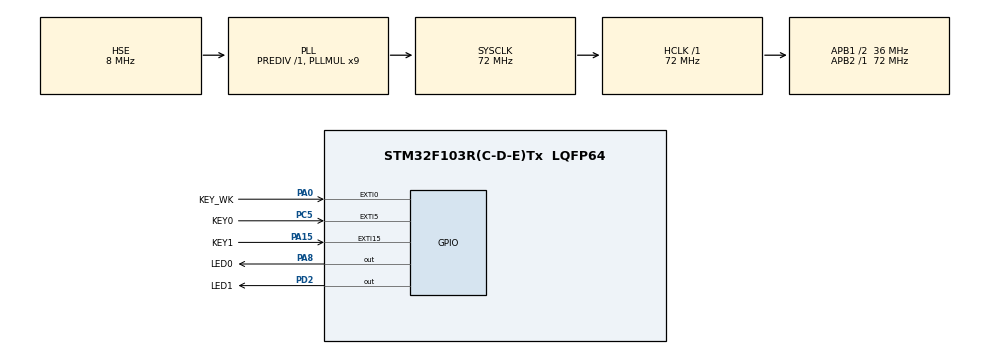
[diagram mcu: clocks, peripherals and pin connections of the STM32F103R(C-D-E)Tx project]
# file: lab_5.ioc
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Mcu.Family=STM32F1
Mcu.Name=STM32F103R(C-D-E)Tx
Mcu.Package=LQFP64
NVIC.EXTI0_IRQn=true\:1\:0\:true\:false\:true\:true\:true\:true
NVIC.EXTI15_10_IRQn=true\:1\:2\:true\:false\:true\:true\:true\:true
NVIC.EXTI9_5_IRQn=true\:1\:1\:true\:false\:true\:true\:true\:true
NVIC.PriorityGroup=NVIC_PRIORITYGROUP_2
PA0-WKUP.GPIO_Label=KEY_WK
PA0-WKUP.GPIO_ModeDefaultEXTI=GPIO_MODE_IT_RISING
PA0-WKUP.GPIO_PuPd=GPIO_PULLDOWN
PA0-WKUP.Signal=GPXTI0
PA13.Mode=Serial_Wire
PA13.Signal=SYS_JTMS-SWDIO
PA14.Mode=Serial_Wire
PA14.Signal=SYS_JTCK-SWCLK
PA15.GPIO_Label=KEY1
PA15.GPIO_ModeDefaultEXTI=GPIO_MODE_IT_FALLING
PA15.GPIO_PuPd=GPIO_PULLUP
PA15.Signal=GPXTI15
PA8.GPIO_Label=LED0
PA8.Signal=GPIO_Output
PC5.GPIO_Label=KEY0
PC5.GPIO_ModeDefaultEXTI=GPIO_MODE_IT_FALLING
PC5.GPIO_PuPd=GPIO_PULLUP
PC5.Signal=GPXTI5
PD0-OSC_IN.Mode=HSE-External-Oscillator
PD0-OSC_IN.Signal=RCC_OSC_IN
PD1-OSC_OUT.Mode=HSE-External-Oscillator
PD1-OSC_OUT.Signal=RCC_OSC_OUT
PD2.GPIO_Label=LED1
PD2.Signal=GPIO_Output
ProjectManager.HeapSize=0x200
ProjectManager.StackSize=0x400
ProjectManager.TargetToolchain=STM32CubeIDE
RCC.AHBFreq_Value=72000000
RCC.APB1CLKDivider=RCC_HCLK_DIV2
RCC.APB1Freq_Value=36000000
RCC.APB1TimFreq_Value=72000000
RCC.APB2Freq_Value=72000000
RCC.APB2TimFreq_Value=72000000
RCC.HCLKFreq_Value=72000000
RCC.PLLMUL=RCC_PLL_MUL9
RCC.PLLSourceVirtual=RCC_PLLSOURCE_HSE
RCC.SYSCLKFreq_VALUE=72000000
RCC.SYSCLKSource=RCC_SYSCLKSOURCE_PLLCLK
RCC.USBFreq_Value=72000000
board=custom

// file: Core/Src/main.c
/* USER CODE BEGIN Header */
/**
  ******************************************************************************
  * @file           : main.c
  * @brief          : Main program body
  ******************************************************************************
  * @attention
  *
  * Copyright (c) 2023 STMicroelectronics.
  * All rights reserved.
  *
  * This software is licensed under terms that can be found in the LICENSE file
  * in the root directory of this software component.
  * If no LICENSE file comes with this software, it is provided AS-IS.
  *
  ******************************************************************************
  */
/* USER CODE END Header */
#include "main.h"
#include "gpio.h"

/* USER CODE BEGIN Includes */
#include "lcd.h"
/* USER CODE END Includes */

void SystemClock_Config(void);

int main(void)
{

  /* MCU Configuration--------------------------------------------------------*/

  /* Reset of all peripherals, Initializes the Flash interface and the Systick. */
  HAL_Init();

  /* Configure the system clock */
  SystemClock_Config();

  /* USER CODE BEGIN SysInit */
  LCD_Init();
//  LCD_Clear(YELLOW);
  /* USER CODE END SysInit */

  /* Initialize all configured peripherals */
  MX_GPIO_Init();

  /* Infinite loop */
  /* USER CODE BEGIN WHILE */
  int x=1;
  while (1)
  {
    /* USER CODE END WHILE */

    /* USER CODE BEGIN 3 */
	  switch (x) {
	   case 0: LCD_Clear(WHITE); BACK_COLOR = WHITE; break;
	   case 1: LCD_Clear(BLACK); BACK_COLOR = BLACK; break;
	   case 2: LCD_Clear(BLUE); BACK_COLOR = BLUE; break;
	   case 3: LCD_Clear(RED); BACK_COLOR = RED; break;
	   case 4: LCD_Clear(MAGENTA); BACK_COLOR = MAGENTA; break;
	   case 5: LCD_Clear(GREEN); BACK_COLOR = GREEN; break;
	   case 6: LCD_Clear(CYAN); BACK_COLOR = CYAN; break;
	   case 7: LCD_Clear(YELLOW); BACK_COLOR = YELLOW; break;
	   case 8: LCD_Clear(BRRED); BACK_COLOR = BRRED; break;
	   case 9: LCD_Clear(GRAY); BACK_COLOR = GRAY; break;
	   case 10: LCD_Clear(LGRAY); BACK_COLOR = LGRAY; break;
	   case 11: LCD_Clear(BROWN); BACK_COLOR = BROWN; break;
	   }//end of switch
	   POINT_COLOR = RED;
	   LCD_ShowString(30, 40, 200, 24, 24, (uint8_t*) "Mini STM32 ^_^");
	   LCD_ShowString(30, 70, 200, 16, 16, (uint8_t*) "TFTLCD TEST");
	   int a = GPIOA -> CRL;
	   char str[30];
	   sprintf(str, "0x%X", &a);
	   LCD_ShowString(30, 90, 200, 16, 16, (uint8_t*) str);
	   /* Code of showing address of GPIOA->CRL (represented in hexadecimal) BEGIN */
	   /* Code of showing address of GPIOA->CRL (represented in hexadecimal) END */
	   POINT_COLOR = BLACK;
	   LCD_DrawRectangle(30, 150, 210, 190);
	   LCD_Fill(31, 151, 209, 189, YELLOW);
	   x++;
	   if (x == 12)
	   x = 0;
	   HAL_Delay(2000);
  } //end of while(1)

  /* USER CODE END 3 */
}

void SystemClock_Config(void)
{
  RCC_OscInitTypeDef RCC_OscInitStruct = {0};
  RCC_ClkInitTypeDef RCC_ClkInitStruct = {0};

  /** Initializes the RCC Oscillators according to the specified parameters
  * in the RCC_OscInitTypeDef structure.
  */
  RCC_OscInitStruct.OscillatorType = RCC_OSCILLATORTYPE_HSE;
  RCC_OscInitStruct.HSEState = RCC_HSE_ON;
  RCC_OscInitStruct.HSEPredivValue = RCC_HSE_PREDIV_DIV1;
  RCC_OscInitStruct.HSIState = RCC_HSI_ON;
  RCC_OscInitStruct.PLL.PLLState = RCC_PLL_ON;
  RCC_OscInitStruct.PLL.PLLSource = RCC_PLLSOURCE_HSE;
  RCC_OscInitStruct.PLL.PLLMUL = RCC_PLL_MUL9;
  if (HAL_RCC_OscConfig(&RCC_OscInitStruct) != HAL_OK)
  {
    Error_Handler();
  }

  /** Initializes the CPU, AHB and APB buses clocks
  */
  RCC_ClkInitStruct.ClockType = RCC_CLOCKTYPE_HCLK|RCC_CLOCKTYPE_SYSCLK
                              |RCC_CLOCKTYPE_PCLK1|RCC_CLOCKTYPE_PCLK2;
  RCC_ClkInitStruct.SYSCLKSource = RCC_SYSCLKSOURCE_PLLCLK;
  RCC_ClkInitStruct.AHBCLKDivider = RCC_SYSCLK_DIV1;
  RCC_ClkInitStruct.APB1CLKDivider = RCC_HCLK_DIV2;
  RCC_ClkInitStruct.APB2CLKDivider = RCC_HCLK_DIV1;

  if (HAL_RCC_ClockConfig(&RCC_ClkInitStruct, FLASH_LATENCY_2) != HAL_OK)
  {
    Error_Handler();
  }
}

void Error_Handler(void)
{
  __disable_irq();
  while (1)
  {
  }
}
